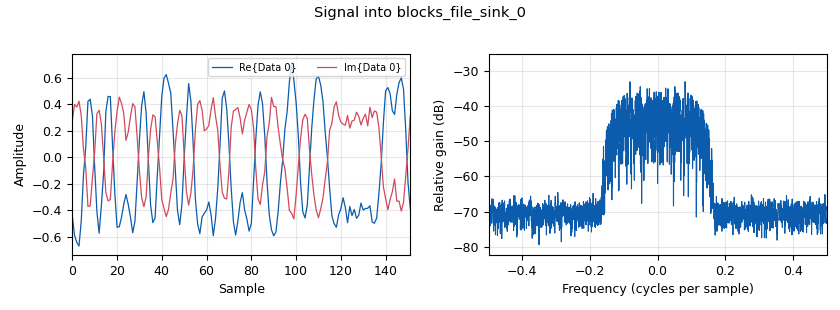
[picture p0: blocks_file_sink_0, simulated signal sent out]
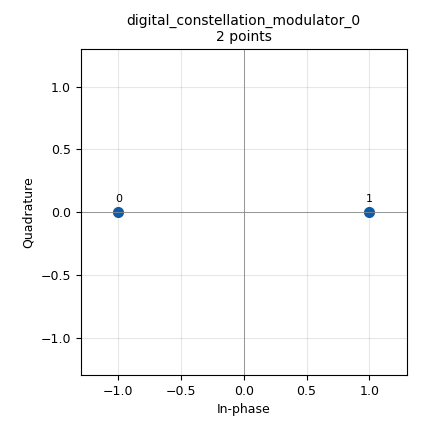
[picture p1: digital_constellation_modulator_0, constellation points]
options:
  parameters:
    generate_options: no_gui
    id: part1
    output_language: python
    run_options: run
    title: Not titled yet
  states: {}

blocks:
- name: baud_rate
  id: variable
  parameters:
    value: '1000'
  states: {}
- name: const_bpsk
  id: variable_constellation
  parameters:
    precision: '8'
    type: bpsk
  states: {}
- name: message
  id: variable
  parameters:
    value: '"Well hello there GRCon! The flag is flag{1023_is_th3_mag1C_NuMb3R}. See you later."'
  states: {}
- name: message_bits
  id: variable
  parameters:
    value: '[int(b) for b in "".join(f"{c:08b}" for c in message.encode())]'
  states: {}
- name: prn1
  id: variable
  parameters:
    value: '[1, 1, 0, 0, 1, 0, 0, 0, 0, 0, 1, 1, 1, 0, 0, 1, 0, 1, 0, 0, 1, 0, 0, 1, 1, 1, 1, 0, 0, 1, 0, 1, 0, 0, 0, 1, 0, 0, 1, 1, 1, 1, 1, 0, 1, 0, 1, 0, 1, 1, 0, 1, 0, 0, 0, 1, 0, 0, 0, 1, 0, 1, 0, 1, 0, 1, 0, 1, 1, 0, 0, 1, 0, 0, 0, 1, 1, 1, 1, 0, 1, 0, 0, 1, 1, 1, 1, 1, 1, 0, 1, 1, 0, 1, 1, 1, 0, 0, 1, 1, 0, 1, 1, 1, 1, 1, 0, 0, 1, 0, 1, 0, 1, 0, 1, 0, 0, 0, 0, 1, 0, 0, 0, 0, 0, 0, 0, 0, 1, 1, 1, 0, 1, 0, 1, 0, 0, 1, 0, 0, 0, 1, 0, 0, 1, 1, 0, 1, 1, 1, 1, 0, 0, 0, 0, 0, 1, 1, 1, 1, 0, 1, 0, 1, 1, 1, 0, 0, 1, 1, 0, 0, 1, 1, 1, 1, 0, 1, 1, 0, 0, 0, 0, 0, 0, 0, 1, 0, 1, 1, 1, 1, 0, 0, 1, 1, 1, 1, 1, 0, 1, 0, 1, 0, 0, 1, 1, 0, 0, 0, 1, 0, 1, 1, 0, 1, 1, 1, 0, 0, 0, 1, 1, 0, 1, 1, 1, 1, 0, 1, 0, 1, 0, 0, 0, 1, 0, 1, 0, 1, 1, 0, 0, 0, 0, 0, 1, 0, 0, 0, 0, 0, 0, 0, 0, 1, 0, 0, 0, 0, 0, 0, 1, 1, 0, 0, 0, 1, 1, 1, 0, 1, 1, 0, 0, 0, 0, 0, 0, 1, 1, 1, 0, 0, 0, 1, 1, 0, 1, 1, 1, 1, 1, 1, 1, 1, 1, 0, 1, 0, 0, 1, 1, 1, 0, 1, 0, 0, 1, 0, 1, 1, 0, 1, 1, 0, 0, 0, 0, 1, 0, 1, 0, 1, 0, 1, 1, 0, 0, 0, 1, 0, 0, 1, 1, 1, 0, 0, 1, 0, 1, 1, 0, 1, 1, 1, 0, 1, 1, 0, 0, 0, 1, 1, 1, 0, 1, 1, 1, 0, 1, 1, 1, 1, 0, 0, 0, 0, 1, 1, 0, 1, 1, 0, 0, 0, 0, 1, 1, 0, 0, 1, 0, 0, 1, 0, 0, 1, 0, 0, 0, 0, 0, 1, 1, 0, 1, 1, 0, 1, 0, 0, 1, 0, 1, 1, 0, 1, 1, 1, 1, 0, 0, 0, 1, 0, 1, 1, 1, 0, 0, 0, 0, 0, 0, 1, 0, 1, 0, 0, 1, 0, 0, 1, 1, 1, 1, 1, 1, 0, 0, 0, 0, 0, 1, 0, 1, 0, 1, 0, 1, 1, 1, 0, 0, 1, 1, 1, 1, 1, 0, 1, 0, 1, 1, 1, 1, 1, 0, 0, 1, 1, 0, 0, 1, 1, 0, 0, 0, 1, 1, 1, 0, 0, 0, 1, 1, 0, 1, 1, 0, 1, 0, 1, 0, 1, 0, 1, 1, 0, 1, 1, 0, 0, 0, 1, 1, 0, 1, 1, 1, 0, 1, 1, 1, 0, 0, 0, 0, 0, 0, 0, 0, 0, 0, 0, 1, 0, 1, 1, 0, 0, 1, 1, 0, 1, 1, 0, 0, 1, 1, 1, 0, 1, 1, 0, 1, 0, 0, 0, 0, 0, 1, 0, 1, 0, 1, 0, 1, 1, 1, 0, 1, 0, 1, 1, 1, 0, 1, 0, 0, 1, 0, 1, 0, 0, 0, 1, 1, 1, 0, 0, 1, 1, 1, 0, 0, 0, 1, 0, 0, 1, 0, 1, 0, 0, 0, 1, 0, 1, 0, 0, 1, 0, 1, 1, 0, 1, 0, 0, 0, 0, 1, 0, 1, 0, 1, 1, 0, 1, 1, 0, 1, 0, 1, 1, 0, 1, 1, 0, 0, 0, 1, 1, 1, 0, 0, 1, 1, 1, 1, 0, 1, 1, 0, 0, 1, 0, 0, 0, 0, 1, 1, 1, 1, 1, 1, 0, 0, 1, 0, 1, 1, 0, 1, 0, 0, 0, 1, 0, 0, 0, 0, 1, 1, 1, 1, 1, 0, 1, 0, 1, 0, 1, 1, 1, 0, 0, 1, 1, 0, 0, 1, 0, 0, 1, 0, 0, 1, 0, 0, 1, 0, 1, 1, 1, 1, 1, 1, 1, 1, 1, 1, 0, 0, 0, 0, 1, 1, 1, 1, 1, 0, 1, 1, 1, 1, 0, 0, 0, 1, 1, 0, 1, 1, 1, 0, 0, 1, 0, 1, 1, 0, 0, 0, 0, 1, 1, 1, 0, 0, 1, 0, 1, 0, 1, 0, 0, 0, 0, 1, 0, 1, 0, 0, 1, 0, 1, 0, 1, 1, 1, 1, 1, 1, 0, 0, 0, 1, 1, 1, 1, 0, 1, 1, 0, 1, 0, 0, 1, 1, 1, 0, 1, 1, 0, 0, 1, 1, 1, 1, 1, 1, 0, 1, 1, 1, 1, 1, 0, 1, 0, 0, 0, 1, 1, 0, 0, 0, 1, 1, 1, 1, 1, 0, 0, 0, 0, 0, 0, 0, 1, 0, 0, 1, 0, 1, 0, 0, 0, 1, 0, 1, 1, 0, 1, 0, 0, 0, 1, 0, 0, 0, 1, 0, 0, 1, 1, 0, 1, 1, 0, 0, 0, 0, 0, 0, 1, 1, 1, 0, 1, 1, 0, 1, 0, 0, 0, 1, 1, 0, 1, 0, 0, 0, 1, 0, 0, 1, 0, 0, 0, 1, 1, 1, 0, 0, 0, 1, 0, 1, 1, 0, 0, 1, 1, 0, 0, 1, 0, 0, 1, 1, 1, 1, 0, 0, 1, 1, 0, 1, 1, 1, 1, 1, 1, 0, 0, 1, 1, 0, 0, 1, 0, 1, 0, 0, 1, 1, 0, 1, 0, 0, 1, 1, 0, 1, 0, 1, 1, 1, 1, 0, 0, 1, 1, 0, 1, 1, 0, 1, 0, 1, 0, 0, 1, 1, 1, 0, 1, 1, 1, 1, 0, 0, 0, 1, 1, 0, 1, 0, 1, 0, 0, 0, 1, 0, 0, 0, 0, 1, 0, 0, 0, 1, 0, 0, 1, 0, 0, 1, 1, 1, 0, 0, 0, 0, 1, 1, 1, 0, 0, 1, 0, 1, 0, 0, 0, 1, 0, 0, 0, 0]'
  states: {}
- name: samp_rate
  id: variable
  parameters:
    value: baud_rate * len(prn1) * sps
  states: {}
- name: sps
  id: variable
  parameters:
    value: '4'
  states: {}
- name: analog_noise_source_x_0
  id: analog_noise_source_x
  parameters:
    amp: '0.1'
    noise_type: analog.GR_GAUSSIAN
    seed: '0'
    type: complex
  states: {}
- name: blocks_add_xx_0
  id: blocks_add_xx
  parameters:
    type: complex
  states: {}
- name: blocks_file_sink_0
  id: blocks_file_sink
  parameters:
    file: gold1.sigmf-data
    type: complex
  states: {}
- name: blocks_multiply_const_vxx_0
  id: blocks_multiply_const_vxx
  parameters:
    const: '0.5'
    type: complex
  states: {}
- name: blocks_unpacked_to_packed_xx_0
  id: blocks_unpacked_to_packed_xx
  parameters:
    bits_per_chunk: '1'
    endianness: gr.GR_MSB_FIRST
    type: byte
  states: {}
- name: blocks_vector_source_x_0
  id: blocks_vector_source_x
  parameters:
    repeat: 'False'
    type: byte
    vector: message_bits
  states: {}
- name: channels_cfo_model_0
  id: channels_cfo_model
  parameters:
    maxdev: '1000'
    seed: '0'
    srate: samp_rate
    stdev: '0.01'
  states: {}
- name: digital_constellation_modulator_0
  id: digital_constellation_modulator
  parameters:
    constellation: const_bpsk
    differential: 'False'
    excess_bw: '0.35'
    samples_per_symbol: sps
  states: {}
- name: epy_block_0
  id: epy_block
  parameters:
    _source_code: |
      import numpy as np
      from gnuradio import gr


      class blk(gr.interp_block):
          """Spread a message using a CDMA chip sequence"""

          def __init__(self, chip_sequence=[0, 1]):
              gr.interp_block.__init__(
                  self,
                  name='CDMA Spread',
                  in_sig=[np.byte],
                  out_sig=[np.byte],
                  interp=len(chip_sequence)
              )
              self.chip_sequence = np.array(chip_sequence, dtype=np.byte)

          def work(self, input_items, output_items):
              l = len(self.chip_sequence)
              for i, bit in enumerate(input_items[0]):
                  output_items[0][i*l:(i+1)*l] = self.chip_sequence ^ bit
              return len(output_items[0])
    chip_sequence: prn1
  states: {}
- name: pfb_arb_resampler_xxx_0
  id: pfb_arb_resampler_xxx
  parameters:
    atten: '100'
    nfilts: '32'
    rrate: '1.0000199514339487'
    type: ccf
  states: {}

connections:
- [analog_noise_source_x_0, '0', blocks_add_xx_0, '0']
- [blocks_add_xx_0, '0', blocks_multiply_const_vxx_0, '0']
- [blocks_multiply_const_vxx_0, '0', blocks_file_sink_0, '0']
- [blocks_unpacked_to_packed_xx_0, '0', digital_constellation_modulator_0, '0']
- [blocks_vector_source_x_0, '0', epy_block_0, '0']
- [channels_cfo_model_0, '0', blocks_add_xx_0, '1']
- [digital_constellation_modulator_0, '0', pfb_arb_resampler_xxx_0, '0']
- [epy_block_0, '0', blocks_unpacked_to_packed_xx_0, '0']
- [pfb_arb_resampler_xxx_0, '0', channels_cfo_model_0, '0']

metadata:
  file_format: 1
  grc_version: 3.10.7.0
